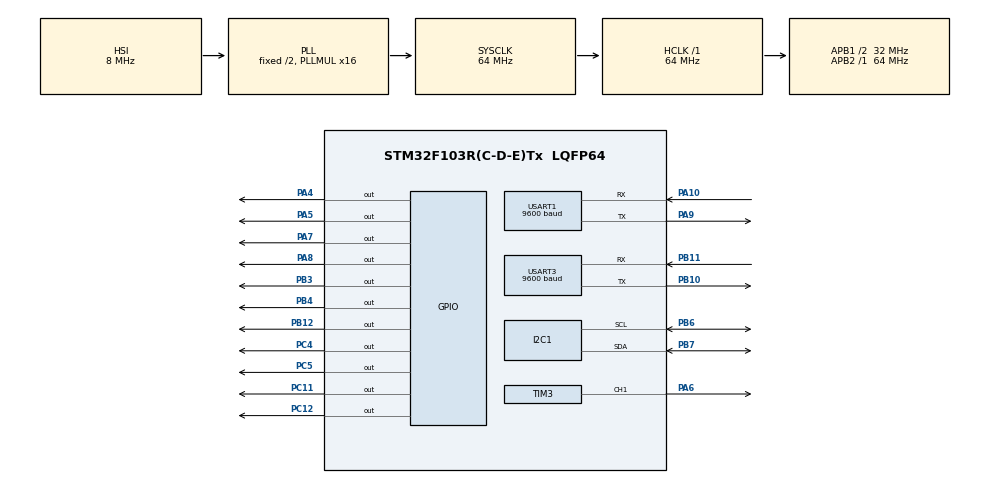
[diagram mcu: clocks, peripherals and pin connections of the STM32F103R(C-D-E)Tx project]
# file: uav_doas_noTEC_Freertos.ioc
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Dma.Request0=USART1_RX
Dma.Request1=USART1_TX
Dma.USART1_RX.0.Direction=DMA_PERIPH_TO_MEMORY
Dma.USART1_RX.0.Instance=DMA1_Channel5
Dma.USART1_RX.0.MemDataAlignment=DMA_MDATAALIGN_BYTE
Dma.USART1_RX.0.MemInc=DMA_MINC_ENABLE
Dma.USART1_RX.0.Mode=DMA_CIRCULAR
Dma.USART1_RX.0.PeriphDataAlignment=DMA_PDATAALIGN_BYTE
Dma.USART1_RX.0.PeriphInc=DMA_PINC_DISABLE
Dma.USART1_RX.0.Priority=DMA_PRIORITY_MEDIUM
Dma.USART1_TX.1.Direction=DMA_MEMORY_TO_PERIPH
Dma.USART1_TX.1.Instance=DMA1_Channel4
Dma.USART1_TX.1.MemDataAlignment=DMA_MDATAALIGN_BYTE
Dma.USART1_TX.1.MemInc=DMA_MINC_ENABLE
Dma.USART1_TX.1.Mode=DMA_NORMAL
Dma.USART1_TX.1.PeriphDataAlignment=DMA_PDATAALIGN_BYTE
Dma.USART1_TX.1.PeriphInc=DMA_PINC_DISABLE
Dma.USART1_TX.1.Priority=DMA_PRIORITY_MEDIUM
FREERTOS.Tasks01=USARTHandle,1,128,Usart_Handle,As weak,NULL,Dynamic,NULL,NULL;MPU6050,0,256,Mpu6050_Measure,As weak,NULL,Dynamic,NULL,NULL;STEPCTRL,-1,128,StepMotor_Ctrl,As weak,NULL,Dynamic,NULL,NULL
FREERTOS.configUSE_NEWLIB_REENTRANT=1
IWDG.Prescaler=IWDG_PRESCALER_64
Mcu.Family=STM32F1
Mcu.Name=STM32F103R(C-D-E)Tx
Mcu.Package=LQFP64
NVIC.DMA1_Channel4_IRQn=true\:5\:0\:false\:false\:true\:true\:false\:true\:true
NVIC.DMA1_Channel5_IRQn=true\:5\:0\:false\:false\:true\:true\:false\:true\:true
NVIC.PriorityGroup=NVIC_PRIORITYGROUP_4
NVIC.TIM3_IRQn=true\:5\:0\:true\:false\:true\:true\:true\:true\:true
NVIC.TIM8_UP_IRQn=true\:15\:0\:false\:false\:true\:false\:false\:true\:true
NVIC.TimeBase=TIM8_UP_IRQn
NVIC.TimeBaseIP=TIM8
NVIC.USART1_IRQn=true\:5\:0\:true\:false\:true\:true\:true\:true\:true
NVIC.USART3_IRQn=true\:10\:0\:true\:false\:true\:true\:true\:true\:true
PA10.Mode=Asynchronous
PA10.Signal=USART1_RX
PA13.Mode=Serial_Wire
PA13.Signal=SYS_JTMS-SWDIO
PA14.Mode=Serial_Wire
PA14.Signal=SYS_JTCK-SWCLK
PA4.Signal=GPIO_Output
PA5.Signal=GPIO_Output
PA6.Signal=S_TIM3_CH1
PA7.Signal=GPIO_Output
PA8.Signal=GPIO_Output
PA9.Mode=Asynchronous
PA9.Signal=USART1_TX
PB10.Mode=Asynchronous
PB10.Signal=USART3_TX
PB11.Mode=Asynchronous
PB11.Signal=USART3_RX
PB12.GPIO_PuPd=GPIO_PULLUP
PB12.Signal=GPIO_Output
PB3.Signal=GPIO_Output
PB4.Signal=GPIO_Output
PB6.Mode=I2C
PB6.Signal=I2C1_SCL
PB7.Mode=I2C
PB7.Signal=I2C1_SDA
PC11.Signal=GPIO_Output
PC12.Signal=GPIO_Output
PC4.Signal=GPIO_Output
PC5.Signal=GPIO_Output
PD0-OSC_IN.Mode=HSE-External-Oscillator
PD0-OSC_IN.Signal=RCC_OSC_IN
PD1-OSC_OUT.Mode=HSE-External-Oscillator
PD1-OSC_OUT.Signal=RCC_OSC_OUT
ProjectManager.HeapSize=0x200
ProjectManager.StackSize=0x400
ProjectManager.TargetToolchain=STM32CubeIDE
RCC.AHBFreq_Value=64000000
RCC.APB1CLKDivider=RCC_HCLK_DIV2
RCC.APB1Freq_Value=32000000
RCC.APB1TimFreq_Value=64000000
RCC.APB2Freq_Value=64000000
RCC.APB2TimFreq_Value=64000000
RCC.HCLKFreq_Value=64000000
RCC.PLLMUL=RCC_PLL_MUL16
RCC.SYSCLKFreq_VALUE=64000000
RCC.SYSCLKSource=RCC_SYSCLKSOURCE_PLLCLK
RCC.USBFreq_Value=64000000
SH.S_TIM3_CH1.0=TIM3_CH1,PWM Generation1 CH1
TIM3.AutoReloadPreload=TIM_AUTORELOAD_PRELOAD_ENABLE
TIM3.Channel-PWM\ Generation1\ CH1=TIM_CHANNEL_1
TIM3.Period=300-1
TIM3.Prescaler=64-1
TIM3.Pulse-PWM\ Generation1\ CH1=50-1
USART1.BaudRate=9600
USART1.VirtualMode=VM_ASYNC
USART3.BaudRate=9600
USART3.VirtualMode=VM_ASYNC
VP_FREERTOS_VS_CMSIS_V1.Mode=CMSIS_V1
VP_IWDG_VS_IWDG.Mode=IWDG_Activate
VP_SYS_VS_tim8.Mode=TIM8
VP_TIM3_VS_ClockSourceINT.Mode=Internal
board=custom

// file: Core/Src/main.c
/* USER CODE BEGIN Header */
/**
  ******************************************************************************
  * @file           : main.c
  * @brief          : Main program body
  ******************************************************************************
  * @attention
  *
  * Copyright (c) 2022 STMicroelectronics.
  * All rights reserved.
  *
  * This software is licensed under terms that can be found in the LICENSE file
  * in the root directory of this software component.
  * If no LICENSE file comes with this software, it is provided AS-IS.
  *
  ******************************************************************************
  */
/* USER CODE END Header */
#include "main.h"
#include "cmsis_os.h"
#include "dma.h"
#include "i2c.h"
#include "iwdg.h"
#include "tim.h"
#include "usart.h"
#include "gpio.h"

/* USER CODE BEGIN Includes */
#include "key.h"
#include "oled.h"
#include "string.h"
#include "bmi160.h"
#include "math.h"
#include "DS18B20.h"
#include "stdio.h"
#include "mpu6050.h"
#include "MahonyAHRS.h"
#include "control.h"
/* USER CODE END Includes */

/* USER CODE BEGIN PTD */
uint8_t len;
uint8_t  buffer[100];
uint8_t MainEventCount=1;
uint8_t MOTORInit = 1;
float Angle_offset=0.0;
float Angletarget = 0;
float Angleoriginal = 0;
float Last_Angleoriginal = 0;
int16_t Roll_RET = 0;
int16_t AZI_RET = 0;
int16_t T_SPEC_RET = 0;
float Last_Angletarget = 0;
//float reducer = 1.0f;
float reducer = 1.0f;

//浮点数结构体
float v_float ;
uint8_t * char_p;

uint8_t Ctrl_event = 0;

/* USER CODE END PTD */

void SystemClock_Config(void);
void MX_FREERTOS_Init(void);

/* USER CODE BEGIN 0 */
void OLED_show(void)
{
//	OLED_ShowString(0,0,"SA22009040",8,1);
	OLED_ShowString(0,32,"wzh",8,1);

}

/* USER CODE END 0 */

int main(void)
{

  /* MCU Configuration--------------------------------------------------------*/

  /* Reset of all peripherals, Initializes the Flash interface and the Systick. */
  HAL_Init();

  /* USER CODE BEGIN Init */
  uint8_t var=0;
  /* USER CODE END Init */

  /* Configure the system clock */
  SystemClock_Config();

  /* Initialize all configured peripherals */
  MX_GPIO_Init();
  MX_DMA_Init();
  MX_USART3_UART_Init();
  MX_I2C1_Init();
  MX_TIM3_Init();
  MX_USART1_UART_Init();
  MX_IWDG_Init();
  /* USER CODE BEGIN 2 */
//  OLED_Init();
//  OLED_ColorTurn(0);
//  OLED_DisplayTurn(0);
//  OLED_Refresh();
//  OLED_show();

  //BMI160初始�??????????????
//  init_bmi160();

  //MPU6050初始�??????????????
  Reset_Bit = 0;
  MPU6050_Init(Sensor_I2C2_Serch());

  printf("Init is OK!\r\n");

  HAL_IWDG_Init(&hiwdg);
  __HAL_UART_ENABLE_IT(&huart1, UART_IT_IDLE);
  HAL_UART_Receive_DMA(&huart1, (uint8_t*)receive_buff, BUFFER_SIZE);
//  PID_Init(&motor_PID, 1, 0.0, 0.0, 1000, 1500);

//  HAL_TIM_Base_Start_IT(&htim1);
//  HAL_TIM_PWM_Start(&htim8,TIM_CHANNEL_1);
  HAL_GPIO_WritePin(GPIOA, GPIO_PIN_7, GPIO_PIN_SET);
  HAL_GPIO_WritePin(GPIOA, GPIO_PIN_4, GPIO_PIN_RESET);
  HAL_GPIO_WritePin(GPIOA, GPIO_PIN_5, GPIO_PIN_SET);
  HAL_GPIO_WritePin(GPIOA, GPIO_PIN_8, GPIO_PIN_RESET);
  Last_Angletarget = Angletarget;
  setTem = 20;

//  __HAL_TIM_SET_COMPARE(&htim3, TIM_CHANNEL_1, 500);
  /* USER CODE END 2 */

  /* Call init function for freertos objects (in freertos.c) */
  MX_FREERTOS_Init();

  /* Start scheduler */
  osKernelStart();

  /* We should never get here as control is now taken by the scheduler */
  /* Infinite loop */
  /* USER CODE BEGIN WHILE */
  while (1)
  {
//	  uint8_t i = 0x0a;
//	USART_SEND_SIGN = 1;

//	USART_SEND_SIGN = 0;

    /* USER CODE END WHILE */

  }
}

void SystemClock_Config(void)
{
  RCC_OscInitTypeDef RCC_OscInitStruct = {0};
  RCC_ClkInitTypeDef RCC_ClkInitStruct = {0};

  /** Initializes the RCC Oscillators according to the specified parameters
  * in the RCC_OscInitTypeDef structure.
  */
  RCC_OscInitStruct.OscillatorType = RCC_OSCILLATORTYPE_HSI|RCC_OSCILLATORTYPE_LSI;
  RCC_OscInitStruct.HSIState = RCC_HSI_ON;
  RCC_OscInitStruct.HSICalibrationValue = RCC_HSICALIBRATION_DEFAULT;
  RCC_OscInitStruct.LSIState = RCC_LSI_ON;
  RCC_OscInitStruct.PLL.PLLState = RCC_PLL_ON;
  RCC_OscInitStruct.PLL.PLLSource = RCC_PLLSOURCE_HSI_DIV2;
  RCC_OscInitStruct.PLL.PLLMUL = RCC_PLL_MUL16;
  if (HAL_RCC_OscConfig(&RCC_OscInitStruct) != HAL_OK)
  {
    Error_Handler();
  }

  /** Initializes the CPU, AHB and APB buses clocks
  */
  RCC_ClkInitStruct.ClockType = RCC_CLOCKTYPE_HCLK|RCC_CLOCKTYPE_SYSCLK
                              |RCC_CLOCKTYPE_PCLK1|RCC_CLOCKTYPE_PCLK2;
  RCC_ClkInitStruct.SYSCLKSource = RCC_SYSCLKSOURCE_PLLCLK;
  RCC_ClkInitStruct.AHBCLKDivider = RCC_SYSCLK_DIV1;
  RCC_ClkInitStruct.APB1CLKDivider = RCC_HCLK_DIV2;
  RCC_ClkInitStruct.APB2CLKDivider = RCC_HCLK_DIV1;

  if (HAL_RCC_ClockConfig(&RCC_ClkInitStruct, FLASH_LATENCY_2) != HAL_OK)
  {
    Error_Handler();
  }
}

void HAL_TIM_PeriodElapsedCallback(TIM_HandleTypeDef *htim)
{
  if (htim->Instance == TIM8) {
    HAL_IncTick();
  }
}

void Error_Handler(void)
{
  __disable_irq();
  while (1)
  {
  }
}

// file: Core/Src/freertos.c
/* USER CODE BEGIN Header */
/**
  ******************************************************************************
  * File Name          : freertos.c
  * Description        : Code for freertos applications
  ******************************************************************************
  * @attention
  *
  * Copyright (c) 2024 STMicroelectronics.
  * All rights reserved.
  *
  * This software is licensed under terms that can be found in the LICENSE file
  * in the root directory of this software component.
  * If no LICENSE file comes with this software, it is provided AS-IS.
  *
  ******************************************************************************
  */
/* USER CODE END Header */

#include "FreeRTOS.h"
#include "task.h"
#include "main.h"
#include "cmsis_os.h"

/* USER CODE BEGIN Includes */
#include "Mpu6050Task.h"
#include "UsartHandleTask.h"
#include "StepCtrlTask.h"
/* USER CODE END Includes */

osThreadId USARTHandleHandle;
osThreadId MPU6050Handle;
osThreadId STEPCTRLHandle;

void Usart_Handle(void const * argument);
void Mpu6050_Measure(void const * argument);
void StepMotor_Ctrl(void const * argument);

void MX_FREERTOS_Init(void); /* (MISRA C 2004 rule 8.1) */

/* GetIdleTaskMemory prototype (linked to static allocation support) */
void vApplicationGetIdleTaskMemory( StaticTask_t **ppxIdleTaskTCBBuffer, StackType_t **ppxIdleTaskStackBuffer, uint32_t *pulIdleTaskStackSize );

/* USER CODE BEGIN GET_IDLE_TASK_MEMORY */
static StaticTask_t xIdleTaskTCBBuffer;
static StackType_t xIdleStack[configMINIMAL_STACK_SIZE];

void vApplicationGetIdleTaskMemory( StaticTask_t **ppxIdleTaskTCBBuffer, StackType_t **ppxIdleTaskStackBuffer, uint32_t *pulIdleTaskStackSize )
{
  *ppxIdleTaskTCBBuffer = &xIdleTaskTCBBuffer;
  *ppxIdleTaskStackBuffer = &xIdleStack[0];
  *pulIdleTaskStackSize = configMINIMAL_STACK_SIZE;
  /* place for user code */
}
/* USER CODE END GET_IDLE_TASK_MEMORY */

void MX_FREERTOS_Init(void) {

  /* Create the thread(s) */
  /* definition and creation of USARTHandle */
  osThreadDef(USARTHandle, Usart_Handle, osPriorityAboveNormal, 0, 128);
  USARTHandleHandle = osThreadCreate(osThread(USARTHandle), NULL);

  /* definition and creation of MPU6050 */
  osThreadDef(MPU6050, Mpu6050_Measure, osPriorityNormal, 0, 256);
  MPU6050Handle = osThreadCreate(osThread(MPU6050), NULL);

  /* definition and creation of STEPCTRL */
  osThreadDef(STEPCTRL, StepMotor_Ctrl, osPriorityBelowNormal, 0, 128);
  STEPCTRLHandle = osThreadCreate(osThread(STEPCTRL), NULL);

}

__weak void Usart_Handle(void const * argument)
{
  for(;;)
  {
    osDelay(1);
  }
}

__weak void Mpu6050_Measure(void const * argument)
{
  for(;;)
  {
    osDelay(1);
  }
}

__weak void StepMotor_Ctrl(void const * argument)
{
  for(;;)
  {
    osDelay(1);
  }
}
